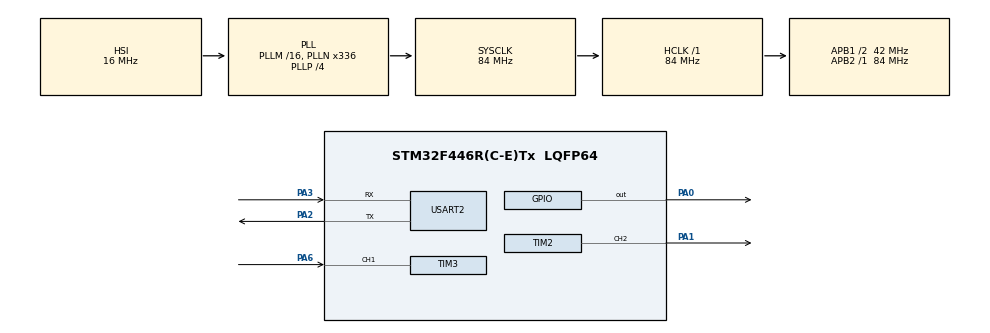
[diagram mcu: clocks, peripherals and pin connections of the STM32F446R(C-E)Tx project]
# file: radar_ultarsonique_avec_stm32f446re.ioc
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Mcu.Family=STM32F4
Mcu.Name=STM32F446R(C-E)Tx
Mcu.Package=LQFP64
NVIC.PriorityGroup=NVIC_PRIORITYGROUP_0
NVIC.TIM1_UP_TIM10_IRQn=true\:0\:0\:false\:false\:true\:false\:true
NVIC.TimeBase=TIM1_UP_TIM10_IRQn
NVIC.TimeBaseIP=TIM1
PA0-WKUP.Signal=GPIO_Output
PA1.Signal=S_TIM2_CH2
PA2.Mode=Asynchronous
PA2.Signal=USART2_TX
PA3.Mode=Asynchronous
PA3.Signal=USART2_RX
PA6.Signal=S_TIM3_CH1
PH0-OSC_IN.Mode=HSE-External-Oscillator
PH0-OSC_IN.Signal=RCC_OSC_IN
PH1-OSC_OUT.Mode=HSE-External-Oscillator
PH1-OSC_OUT.Signal=RCC_OSC_OUT
ProjectManager.HeapSize=0x200
ProjectManager.StackSize=0x400
ProjectManager.TargetToolchain=STM32CubeIDE
RCC.48MHZClocksFreq_Value=84000000
RCC.AHBFreq_Value=84000000
RCC.APB1CLKDivider=RCC_HCLK_DIV2
RCC.APB1Freq_Value=42000000
RCC.APB1TimFreq_Value=84000000
RCC.APB2Freq_Value=84000000
RCC.APB2TimFreq_Value=84000000
RCC.CortexFreq_Value=84000000
RCC.FLatency-AdvancedSettings=FLASH_LATENCY_2
RCC.HCLKFreq_Value=84000000
RCC.HSE_VALUE=8000000
RCC.HSI_VALUE=16000000
RCC.PLLN=336
RCC.PLLP=RCC_PLLP_DIV4
RCC.SYSCLKFreq_VALUE=84000000
RCC.SYSCLKSource=RCC_SYSCLKSOURCE_PLLCLK
RCC.USBFreq_Value=168000000
RCC.VCOOutputFreq_Value=336000000
SH.S_TIM2_CH2.0=TIM2_CH2,PWM Generation2 CH2
SH.S_TIM3_CH1.0=TIM3_CH1,Input_Capture1_from_TI1
TIM2.Channel-PWM\ Generation2\ CH2=TIM_CHANNEL_2
TIM2.Period=19999
TIM2.Prescaler=179
TIM3.Channel-Input_Capture1_from_TI1=TIM_CHANNEL_1
TIM3.Prescaler=84
USART2.VirtualMode=VM_ASYNC
VP_SYS_VS_tim1.Mode=TIM1
VP_TIM2_VS_ClockSourceINT.Mode=Internal
VP_TIM3_VS_ClockSourceINT.Mode=Internal
board=NUCLEO-F446RE

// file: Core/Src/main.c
/* USER CODE BEGIN Header */
/**
  ******************************************************************************
  * @file           : main.c
  * @brief          : Main program body
  ******************************************************************************
  * @attention
  *
  * <h2><center>&copy; Copyright (c) 2024 STMicroelectronics.
  * All rights reserved.</center></h2>
  *
  * This software component is licensed by ST under BSD 3-Clause license,
  * the "License"; You may not use this file except in compliance with the
  * License. You may obtain a copy of the License at:
  *                        opensource.org/licenses/BSD-3-Clause
  *
  ******************************************************************************
  */
/* USER CODE END Header */
#include "main.h"
#include <stdio.h>
#include <string.h>

/* USER CODE BEGIN Includes */
#define TRIG_PIN GPIO_PIN_0
#define TRIG_PORT GPIOA
#define ECHO_PIN GPIO_PIN_6
#define ECHO_PORT GPIOA
volatile uint32_t start_time = 0;
volatile uint32_t end_time = 0;
volatile uint8_t echo_received = 0;
int Distance=0;
/* USER CODE END PM */
uint32_t pMillis;
uint32_t Value1 = 0;
uint32_t Value2 = 0;
uint32_t Val = 0;
int angle = 0;
/* USER CODE END Includes */

TIM_HandleTypeDef htim2;
TIM_HandleTypeDef htim3;

UART_HandleTypeDef huart2;

void SystemClock_Config(void);
static void MX_GPIO_Init(void);
static void MX_USART2_UART_Init(void);
static void MX_TIM2_Init(void);
static void MX_TIM3_Init(void);

/* USER CODE BEGIN 0 */
uint32_t mesure () {
	 HAL_GPIO_WritePin(TRIG_PORT, TRIG_PIN, GPIO_PIN_SET);  // pull the TRIG pin HIGH
		  	   	      __HAL_TIM_SET_COUNTER(&htim3, 0);

		  	   	      while (__HAL_TIM_GET_COUNTER (&htim3) < 10);  // wait for 10 us
		  	   	      HAL_GPIO_WritePin(TRIG_PORT, TRIG_PIN, GPIO_PIN_RESET);  // pull the TRIG pin low

		  	   	      while (HAL_GPIO_ReadPin(ECHO_PORT, ECHO_PIN) == GPIO_PIN_RESET);
		  	   	      Value1 = __HAL_TIM_GET_COUNTER (&htim3);

		  	   	     while (HAL_GPIO_ReadPin(ECHO_PORT, ECHO_PIN) == GPIO_PIN_SET);
		  	   	     Value2 = __HAL_TIM_GET_COUNTER (&htim3);
		  	   	     Val =Value2-Value1;

		  	   	     return (Val * 0.0343)/2;

}
void Servo_SetAngle(TIM_HandleTypeDef *htim, uint32_t Channel, int angle) {

    int pulse = 250 + ((angle * 1000) / 180);
    __HAL_TIM_SET_COMPARE(htim, Channel, pulse);  // Appliquer le rapport cyclique
}
void Transmit_Data(int angle, int distance) {
    char buffer[50];
    sprintf(buffer, "Angle: %d, Distance: %d\n", angle, distance);
    HAL_UART_Transmit(&huart2, (uint8_t*)buffer, strlen(buffer), HAL_MAX_DELAY);
}
/* USER CODE END 0 */

int main(void)
{

  /* MCU Configuration--------------------------------------------------------*/

  /* Reset of all peripherals, Initializes the Flash interface and the Systick. */

HAL_Init();

  /* Configure the system clock */
  SystemClock_Config();

  /* Initialize all configured peripherals */
  MX_GPIO_Init();
  MX_USART2_UART_Init();
  MX_TIM2_Init();
  MX_TIM3_Init();
  /* USER CODE BEGIN 2 */
  HAL_TIM_Base_Start(&htim3);
  HAL_GPIO_WritePin(TRIG_PORT, TRIG_PIN, GPIO_PIN_RESET);
  HAL_TIM_PWM_Start(&htim2, TIM_CHANNEL_2);

  /* USER CODE END 2 */

  /* Infinite loop */
  /* USER CODE BEGIN WHILE */
  while (1)
  {

	  for (angle = 0; angle <= 180; angle += 10) {
	  	      Servo_SetAngle(&htim2, TIM_CHANNEL_2, angle);// Définir l'angle
	  	      HAL_Delay(1000); // Attendre que le servomoteur se stabilise
	  	      Distance = mesure();
	  	    Transmit_Data(angle, Distance);

	  	  }

	  for (angle = 180; angle >= 0; angle -= 10) {
	  	       Servo_SetAngle(&htim2, TIM_CHANNEL_2, angle); // Définir l'angle
	  	       HAL_Delay(1000); // Attendre la stabilisation
	  	       Distance = mesure();
	  	       Transmit_Data(angle, Distance);

	  	         }

    /* USER CODE END WHILE */

  }
}

void SystemClock_Config(void)
{
  RCC_OscInitTypeDef RCC_OscInitStruct = {0};
  RCC_ClkInitTypeDef RCC_ClkInitStruct = {0};

  /** Configure the main internal regulator output voltage
  */
  __HAL_RCC_PWR_CLK_ENABLE();
  __HAL_PWR_VOLTAGESCALING_CONFIG(PWR_REGULATOR_VOLTAGE_SCALE3);
  /** Initializes the RCC Oscillators according to the specified parameters
  * in the RCC_OscInitTypeDef structure.
  */
  RCC_OscInitStruct.OscillatorType = RCC_OSCILLATORTYPE_HSI;
  RCC_OscInitStruct.HSIState = RCC_HSI_ON;
  RCC_OscInitStruct.HSICalibrationValue = RCC_HSICALIBRATION_DEFAULT;
  RCC_OscInitStruct.PLL.PLLState = RCC_PLL_ON;
  RCC_OscInitStruct.PLL.PLLSource = RCC_PLLSOURCE_HSI;
  RCC_OscInitStruct.PLL.PLLM = 16;
  RCC_OscInitStruct.PLL.PLLN = 336;
  RCC_OscInitStruct.PLL.PLLP = RCC_PLLP_DIV4;
  RCC_OscInitStruct.PLL.PLLQ = 2;
  RCC_OscInitStruct.PLL.PLLR = 2;
  if (HAL_RCC_OscConfig(&RCC_OscInitStruct) != HAL_OK)
  {
    Error_Handler();
  }
  /** Initializes the CPU, AHB and APB buses clocks
  */
  RCC_ClkInitStruct.ClockType = RCC_CLOCKTYPE_HCLK|RCC_CLOCKTYPE_SYSCLK
                              |RCC_CLOCKTYPE_PCLK1|RCC_CLOCKTYPE_PCLK2;
  RCC_ClkInitStruct.SYSCLKSource = RCC_SYSCLKSOURCE_PLLCLK;
  RCC_ClkInitStruct.AHBCLKDivider = RCC_SYSCLK_DIV1;
  RCC_ClkInitStruct.APB1CLKDivider = RCC_HCLK_DIV2;
  RCC_ClkInitStruct.APB2CLKDivider = RCC_HCLK_DIV1;

  if (HAL_RCC_ClockConfig(&RCC_ClkInitStruct, FLASH_LATENCY_2) != HAL_OK)
  {
    Error_Handler();
  }
}

static void MX_TIM2_Init(void)
{

  TIM_ClockConfigTypeDef sClockSourceConfig = {0};
  TIM_MasterConfigTypeDef sMasterConfig = {0};
  TIM_OC_InitTypeDef sConfigOC = {0};

  htim2.Instance = TIM2;
  htim2.Init.Prescaler = 179;
  htim2.Init.CounterMode = TIM_COUNTERMODE_UP;
  htim2.Init.Period = 19999;
  htim2.Init.ClockDivision = TIM_CLOCKDIVISION_DIV1;
  htim2.Init.AutoReloadPreload = TIM_AUTORELOAD_PRELOAD_DISABLE;
  if (HAL_TIM_Base_Init(&htim2) != HAL_OK)
  {
    Error_Handler();
  }
  sClockSourceConfig.ClockSource = TIM_CLOCKSOURCE_INTERNAL;
  if (HAL_TIM_ConfigClockSource(&htim2, &sClockSourceConfig) != HAL_OK)
  {
    Error_Handler();
  }
  if (HAL_TIM_PWM_Init(&htim2) != HAL_OK)
  {
    Error_Handler();
  }
  sMasterConfig.MasterOutputTrigger = TIM_TRGO_RESET;
  sMasterConfig.MasterSlaveMode = TIM_MASTERSLAVEMODE_DISABLE;
  if (HAL_TIMEx_MasterConfigSynchronization(&htim2, &sMasterConfig) != HAL_OK)
  {
    Error_Handler();
  }
  sConfigOC.OCMode = TIM_OCMODE_PWM1;
  sConfigOC.Pulse = 0;
  sConfigOC.OCPolarity = TIM_OCPOLARITY_HIGH;
  sConfigOC.OCFastMode = TIM_OCFAST_DISABLE;
  if (HAL_TIM_PWM_ConfigChannel(&htim2, &sConfigOC, TIM_CHANNEL_2) != HAL_OK)
  {
    Error_Handler();
  }
  HAL_TIM_MspPostInit(&htim2);

}

static void MX_TIM3_Init(void)
{

  TIM_ClockConfigTypeDef sClockSourceConfig = {0};
  TIM_MasterConfigTypeDef sMasterConfig = {0};
  TIM_IC_InitTypeDef sConfigIC = {0};

  htim3.Instance = TIM3;
  htim3.Init.Prescaler = 84;
  htim3.Init.CounterMode = TIM_COUNTERMODE_UP;
  htim3.Init.Period = 65535;
  htim3.Init.ClockDivision = TIM_CLOCKDIVISION_DIV1;
  htim3.Init.AutoReloadPreload = TIM_AUTORELOAD_PRELOAD_DISABLE;
  if (HAL_TIM_Base_Init(&htim3) != HAL_OK)
  {
    Error_Handler();
  }
  sClockSourceConfig.ClockSource = TIM_CLOCKSOURCE_INTERNAL;
  if (HAL_TIM_ConfigClockSource(&htim3, &sClockSourceConfig) != HAL_OK)
  {
    Error_Handler();
  }
  if (HAL_TIM_IC_Init(&htim3) != HAL_OK)
  {
    Error_Handler();
  }
  sMasterConfig.MasterOutputTrigger = TIM_TRGO_RESET;
  sMasterConfig.MasterSlaveMode = TIM_MASTERSLAVEMODE_DISABLE;
  if (HAL_TIMEx_MasterConfigSynchronization(&htim3, &sMasterConfig) != HAL_OK)
  {
    Error_Handler();
  }
  sConfigIC.ICPolarity = TIM_INPUTCHANNELPOLARITY_RISING;
  sConfigIC.ICSelection = TIM_ICSELECTION_DIRECTTI;
  sConfigIC.ICPrescaler = TIM_ICPSC_DIV1;
  sConfigIC.ICFilter = 0;
  if (HAL_TIM_IC_ConfigChannel(&htim3, &sConfigIC, TIM_CHANNEL_1) != HAL_OK)
  {
    Error_Handler();
  }

}

static void MX_USART2_UART_Init(void)
{

  huart2.Instance = USART2;
  huart2.Init.BaudRate = 115200;
  huart2.Init.WordLength = UART_WORDLENGTH_8B;
  huart2.Init.StopBits = UART_STOPBITS_1;
  huart2.Init.Parity = UART_PARITY_NONE;
  huart2.Init.Mode = UART_MODE_TX_RX;
  huart2.Init.HwFlowCtl = UART_HWCONTROL_NONE;
  huart2.Init.OverSampling = UART_OVERSAMPLING_16;
  if (HAL_UART_Init(&huart2) != HAL_OK)
  {
    Error_Handler();
  }

}

static void MX_GPIO_Init(void)
{
  GPIO_InitTypeDef GPIO_InitStruct = {0};

  /* GPIO Ports Clock Enable */
  __HAL_RCC_GPIOH_CLK_ENABLE();
  __HAL_RCC_GPIOA_CLK_ENABLE();

  /*Configure GPIO pin Output Level */
  HAL_GPIO_WritePin(GPIOA, GPIO_PIN_0, GPIO_PIN_RESET);

  /*Configure GPIO pin : PA0 */
  GPIO_InitStruct.Pin = GPIO_PIN_0;
  GPIO_InitStruct.Mode = GPIO_MODE_OUTPUT_PP;
  GPIO_InitStruct.Pull = GPIO_NOPULL;
  GPIO_InitStruct.Speed = GPIO_SPEED_FREQ_LOW;
  HAL_GPIO_Init(GPIOA, &GPIO_InitStruct);

}

void HAL_TIM_PeriodElapsedCallback(TIM_HandleTypeDef *htim)
{
  if (htim->Instance == TIM1) {
    HAL_IncTick();
  }
}

void Error_Handler(void)
{
  __disable_irq();
  while (1)
  {
  }
}

/************************ (C) COPYRIGHT STMicroelectronics *****END OF FILE****/
